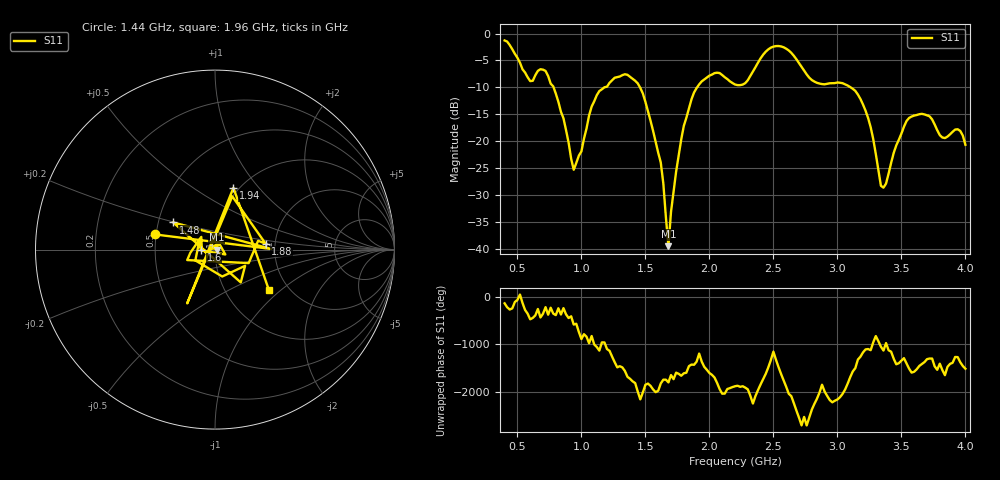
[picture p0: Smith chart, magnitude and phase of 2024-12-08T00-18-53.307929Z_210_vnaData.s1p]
!Created with skrf (http://scikit-rf.org).
# Hz S RI R 50.0
!freq ReS11 ImS11
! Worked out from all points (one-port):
!   181 points, 400 MHz to 4 GHz, reference 50 ohm
!   lowest |S11| = -39.5 dB at 1.68 GHz (marker M1), VSWR 1.02, Z = 51.1 - j0.0601 ohm
!   |S11| at or under -10 dB: 782.8 MHz to 1.179 GHz (395.9 MHz wide, 40.4 % of centre); 1.458 GHz to 1.904 GHz (445.8 MHz wide, 26.5 % of centre); 3.104 GHz to end of sweep
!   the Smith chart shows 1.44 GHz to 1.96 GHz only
!   S11 on the Smith chart (normalised r, x): 1.44 GHz: 0.49, +0.09; 1.48 GHz: 0.60, +0.20; 1.6 GHz: 0.85, -0.01; 1.88 GHz: 1.78, +0.13; 1.94 GHz: 0.94, +0.75; 1.96 GHz: 1.59, -0.83
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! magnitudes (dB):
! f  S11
! 400 MHz  -1.3
! 600 MHz  -8.8
! 720 MHz  -6.9
! 860 MHz  -15.7
! 940 MHz  -25.3
! 1.12 GHz  -11.5
! 1.3 GHz  -8.0
! 1.44 GHz  -9.2
! 1.48 GHz  -11.1
! 1.6 GHz  -22.1
! 1.64 GHz  -27.8
! 1.68 GHz  -39.5
! 1.76 GHz  -22.6
! 1.88 GHz  -10.9
! 1.94 GHz  -8.9
! 1.96 GHz  -8.5
! 2.2 GHz  -9.5
! 2.48 GHz  -2.6
! 2.66 GHz  -4.1
! 2.82 GHz  -8.9
! 3.1 GHz  -9.9
! 3.24 GHz  -15.7
! 3.36 GHz  -28.6
! 3.56 GHz  -15.7
! 3.72 GHz  -15.4
! 3.82 GHz  -19.3
! 3.94 GHz  -17.8
! 4 GHz  -20.6
